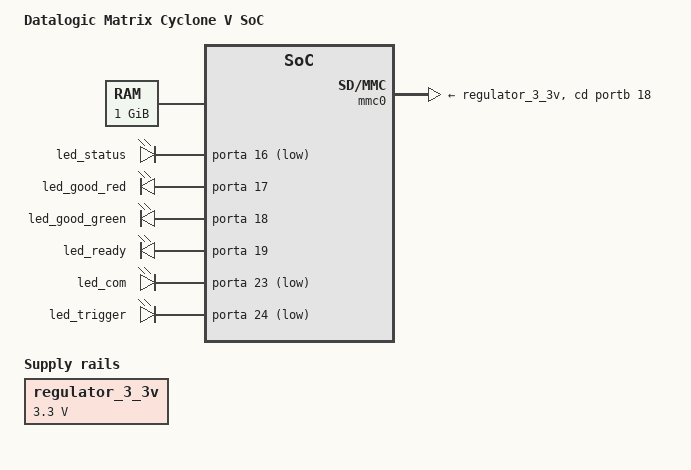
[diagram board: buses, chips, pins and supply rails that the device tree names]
// SPDX-License-Identifier: GPL-2.0+
/*
 * Copyright (C) 2012 Altera Corporation <www.altera.com>
 */

#include <dt-bindings/gpio/gpio.h>

#include "socfpga_cyclone5.dtsi"

/ {
	model = "Datalogic Matrix Cyclone V SoC";
	compatible = "altr,socfpga-cyclone5-matrix", "altr,socfpga-cyclone5", "altr,socfpga";

	chosen {
		bootargs = "earlyprintk";
		stdout-path = "serial0:115200n8";
	};

	memory {
		name = "memory";
		device_type = "memory";
		reg = <0x0 0x40000000>; /* 1GB */
	};

	aliases {
		/* this allow the ethaddr uboot environmnet variable contents
		 * to be added to the gmac1 device tree blob.
		 */
		ethernet0 = &gmac0;
	};

	leds {
		compatible = "gpio-leds";
		status {
			label = "led_status";
			gpios = <&porta 16 GPIO_ACTIVE_LOW>;
			default-state = "off";
		};

		good_red {
			label = "led_good_red";
			gpios = <&porta 17 GPIO_ACTIVE_HIGH>;
			default-state = "off";
		};

		good_green {
			label = "led_good_green";
			gpios = <&porta 18 GPIO_ACTIVE_HIGH>;
			default-state = "off";
		};

		ready {
			label = "led_ready";
			gpios = <&porta 19 GPIO_ACTIVE_HIGH>;
			default-state = "off";
		};

		com {
			label = "led_com";
			gpios = <&porta 23 GPIO_ACTIVE_LOW>;
			default-state = "off";
		};

		trigger {
			label = "led_trigger";
			gpios = <&porta 24 GPIO_ACTIVE_LOW>;
			default-state = "off";
		};
	};

	regulator_3_3v: 3-3-v-regulator {
		compatible = "regulator-fixed";
		regulator-name = "3.3V";
		regulator-min-microvolt = <3300000>;
		regulator-max-microvolt = <3300000>;
	};
};

&gpio0 {
	status = "okay";
};

&mmc0 {
	cd-gpios = <&portb 18 0>;
	vmmc-supply = <&regulator_3_3v>;
	vqmmc-supply = <&regulator_3_3v>;
	status = "okay";
};
